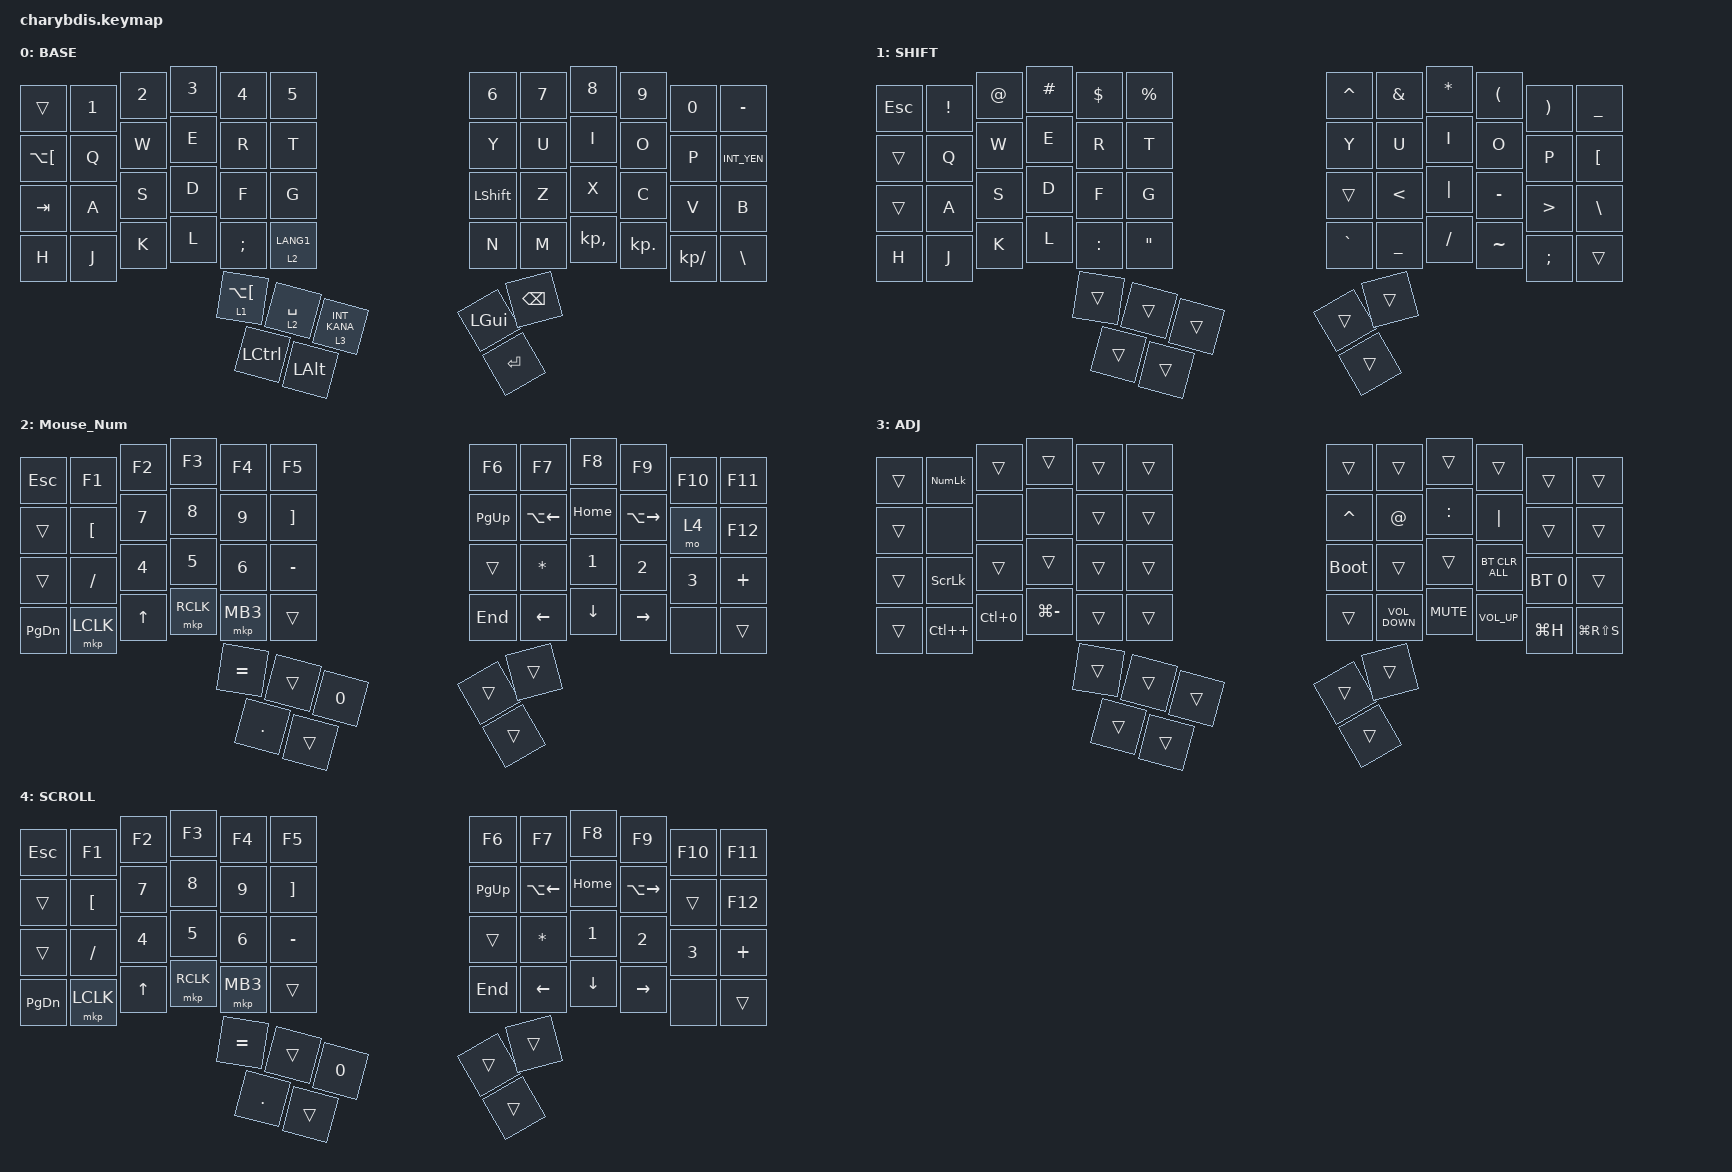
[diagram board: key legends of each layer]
#include <dt-bindings/zmk/mouse.h>
#include <behaviors/mouse_keys.dtsi>
#include <behaviors.dtsi>
#include <dt-bindings/zmk/bt.h>
#include <dt-bindings/zmk/keys.h>
#include <dt-bindings/zmk/pointing.h>

&mt {
    quick-tap-ms = <200>;
    flavor = "tap-preferred";   // ▽: hold-preferred/balanced も可
    tapping-term-ms = <170>;
};

&lt {
    quick-tap-ms = <200>;
    flavor = "tap-preferred";   // ▽
    tapping-term-ms = <170>;
};

/ {
    combos {
        compatible = "zmk,combos";

        combo_esc {
            timeout-ms = <50>;
            key-positions = <0 1>;
            bindings = <&kp ESC>;
            layers = <0>;
        };
    };

    keymap {
        compatible = "zmk,keymap";

        BASE {
            bindings = <
&trans           &kp N1                  &kp N2       &kp N3          &kp N4     &kp N5        &kp N6           &kp N7         &kp N8        &kp N9      &kp N0        &kp MINUS
&kp LA(LEFT_BRACKET)  &kp Q                   &kp W        &kp E           &kp R      &kp T                   &kp Y  &kp U          &kp I         &kp O       &kp P         &kp INT_YEN
&kp TAB          &kp A                   &kp S        &kp D           &kp F      &kp G                   &kp H  &kp J          &kp K         &kp L       &kp SEMI      &lt 2 LANG1
&kp LEFT_SHIFT   &kp Z                   &kp X        &kp C           &kp V      &kp B                   &kp N  &kp M          &kp KP_COMMA  &kp KP_DOT  &kp KP_SLASH  &kp BACKSLASH
                 &lt 1 LA(LEFT_BRACKET)  &lt 2 SPACE  &lt 3 INT_KANA  &kp LCTRL  &kp LEFT_ALT  &kp LGUI         &kp BACKSPACE                &kp ENTER
            >;
        };

        SHIFT {
            bindings = <
&kp ESC  &kp EXCL       &kp AT    &kp HASH   &kp DLLR          &kp PRCNT      &kp CARET             &kp AMPS        &kp STAR   &kp LPAR   &kp RPAR       &kp UNDERSCORE
&trans   &kp Q          &kp W     &kp E      &kp R             &kp T                     &kp Y      &kp U           &kp I      &kp O      &kp P          &kp LBKT
&trans   &kp A          &kp S     &kp D      &kp F             &kp G                     &kp H      &kp J           &kp K      &kp L      &kp COLON      &kp DQT
&trans   &kp LESS_THAN  &kp PIPE  &kp MINUS  &kp GREATER_THAN  &kp BACKSLASH             &kp GRAVE  &kp UNDERSCORE  &kp SLASH  &kp TILDE  &kp SEMICOLON  &trans
         &trans         &trans    &trans     &trans            &trans         &trans                &trans                     &trans
            >;
        };

        Mouse_Num {
            bindings = <
&kp ESC  &kp F1            &kp F2        &kp F3        &kp F4        &kp F5             &kp F6                 &kp F7              &kp F8    &kp F9               &kp F10   &kp F11
&trans   &kp LEFT_BRACKET  &kp N7        &kp N8        &kp N9        &kp RIGHT_BRACKET          &kp PAGE_UP    &kp LA(LEFT_ARROW)  &kp HOME  &kp LA(RIGHT_ARROW)  &mo 4     &kp F12
&trans   &kp SLASH         &kp NUMBER_4  &kp N5        &kp NUMBER_6  &kp MINUS                  &kp PAGE_DOWN  &mkp LCLK           &kp UP    &mkp RCLK            &mkp MB3  &trans
&trans   &kp ASTERISK      &kp NUMBER_1  &kp NUMBER_2  &kp NUMBER_3  &kp PLUS                   &kp END        &kp LEFT_ARROW      &kp DOWN  &kp RIGHT_ARROW      &none     &trans
         &kp EQUAL         &trans        &kp N0        &kp PERIOD    &trans             &trans                 &trans                        &trans
            >;
        };

        ADJ {
            bindings = <
&trans       &kp KP_NUMLOCK  &trans  &trans          &trans        &trans  &trans             &trans             &trans      &trans           &trans     &trans
&trans       &none           &none   &none           &trans        &trans          &kp CARET  &kp AT             &kp COLON   &kp PIPE         &trans     &trans
&trans       &kp SCROLLLOCK  &trans  &trans          &trans        &trans          &trans     &kp LC(PLUS)       &kp LC(N0)  &kp LG(MINUS)    &trans     &trans
&bootloader  &trans          &trans  &bt BT_CLR_ALL  &bt BT_SEL 0  &trans          &trans     &kp C_VOLUME_DOWN  &kp K_MUTE  &kp C_VOLUME_UP  &kp LG(H)  &kp LG(RS(S))
             &trans          &trans  &trans          &trans        &trans  &trans             &trans                         &trans
            >;
        };

        // index 4:スクロール層。Mouse_Num のコピー(クリック等はそのまま使える)。
        // このレイヤーが最上位でアクティブな間だけ、ドライバがボール移動を
        // スクロールに変換する(overlay の scroll-layers = <4> と対応)。
        SCROLL {
            bindings = <
&kp ESC  &kp F1            &kp F2        &kp F3        &kp F4        &kp F5             &kp F6                 &kp F7              &kp F8    &kp F9               &kp F10   &kp F11
&trans   &kp LEFT_BRACKET  &kp N7        &kp N8        &kp N9        &kp RIGHT_BRACKET          &kp PAGE_UP    &kp LA(LEFT_ARROW)  &kp HOME  &kp LA(RIGHT_ARROW)  &trans    &kp F12
&trans   &kp SLASH         &kp NUMBER_4  &kp N5        &kp NUMBER_6  &kp MINUS                  &kp PAGE_DOWN  &mkp LCLK           &kp UP    &mkp RCLK            &mkp MB3  &trans
&trans   &kp ASTERISK      &kp NUMBER_1  &kp NUMBER_2  &kp NUMBER_3  &kp PLUS                   &kp END        &kp LEFT_ARROW      &kp DOWN  &kp RIGHT_ARROW      &none     &trans
         &kp EQUAL         &trans        &kp N0        &kp PERIOD    &trans             &trans                 &trans                        &trans
            >;
        };
    };
};
